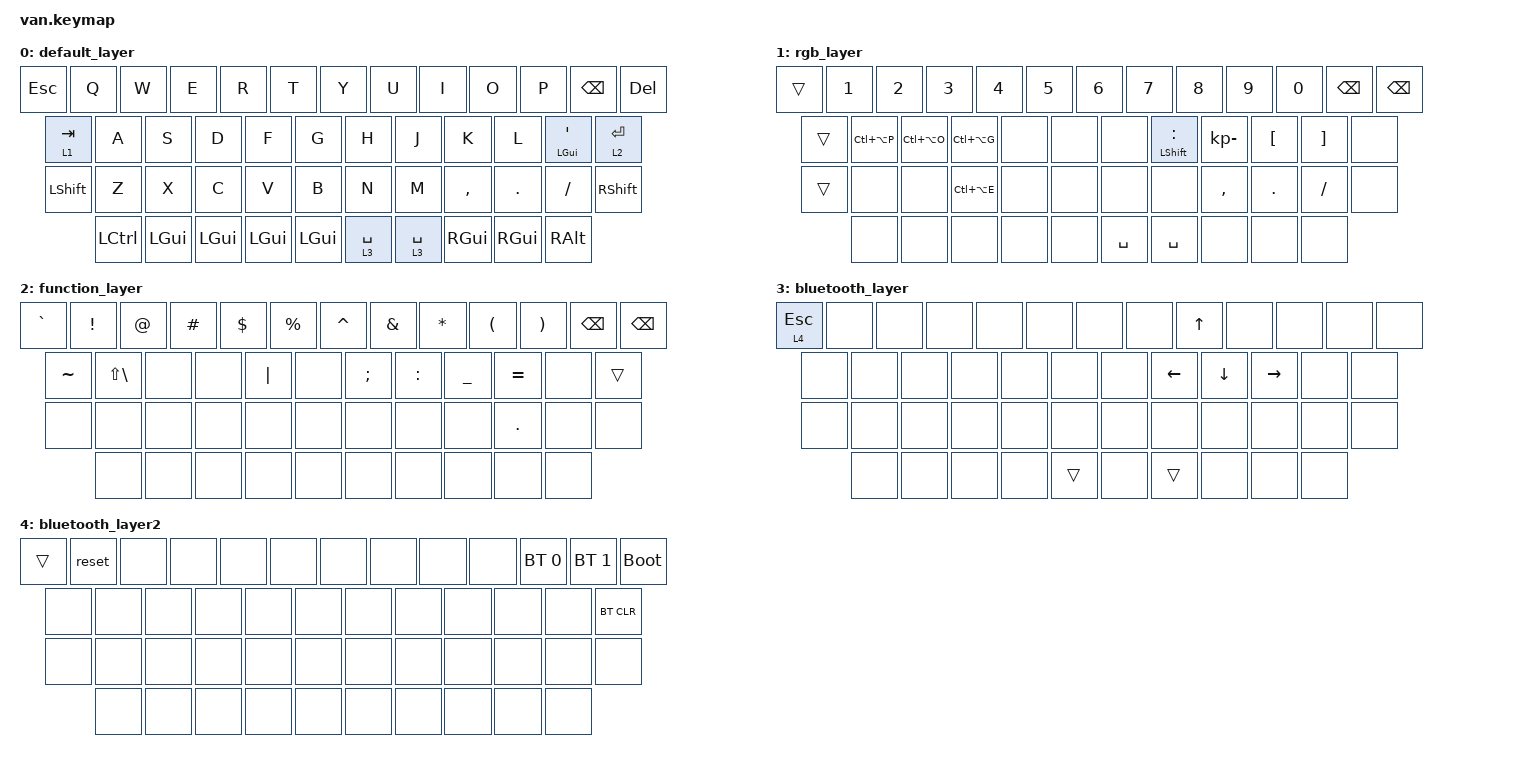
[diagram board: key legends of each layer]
/*
 * Copyright (c) 2021 Nick Winans
 *
 * SPDX-License-Identifier: MIT
 */

#include <behaviors.dtsi>
#include <dt-bindings/zmk/keys.h>
#include <dt-bindings/zmk/rgb.h>
#include <dt-bindings/zmk/bt.h>


/ {
	keymap {
		compatible = "zmk,keymap";

		default_layer {
// ------------------------------------------------------------------------------------------
// | ESC |  1  |  2  |  3  |  4  |  5  |  6  |  7  |  8  |  9  |  0  |  -  |  =  |   BKSP   |
// | TAB  |  Q  |  W  |  E  |  R  |  T  |  Y  |  U  |  I  |  O  |  P  |  [  |  ]  |   "|"   |
// | CAPS  |  A  |  S  |  D  |  F  |  G  |  H  |  J  |  K  |  L  |  ;  |  '  |     ENTER    |
// |  SHIFT  |  Z  |  X  |  C  |  V  |  B  |  N  |  M  |  ,  |  .  |  /  |      SHIFT       |
// |  CTL  |  WIN  |  ALT  |            SPACE              |  ALT  |  WIN  |  MO(1) |  CTL  |
// ------------------------------------------------------------------------------------------
			bindings = <
	&kp ESC  &kp Q  &kp W  &kp E  &kp R  &kp T  &kp Y  &kp U  &kp I  &kp O  &kp P  &kp BSPC &kp DEL
	&lt 1 TAB  &kp A  &kp S  &kp D  &kp F  &kp G  &kp H  &kp J  &kp K  &kp L  &mt LGUI SQT &lt 2 RET           
	&kp LSHFT   &kp Z  &kp X  &kp C  &kp V  &kp B  &kp N  &kp M  &kp COMMA &kp DOT &kp FSLH           &kp RSHFT
	&kp LCTRL &kp LGUI &kp LGUI &kp LGUI &kp LGUI &lt 3 SPACE     &lt 3 SPACE      &kp RGUI  &kp RGUI  &kp RALT  
			>;
		};

		rgb_layer {
// ------------------------------------------------------------------------------------------------
// | BT CLR | F1  | F2  | F3  | F4  | F5  | F6  | F7  | F8  | F9  | F10  | F11 | F12 | EFFECT REV |
// |  BT 1   |   |  UP |   | HUEUP | SATUP | BRIUP | SPDUP |   |     |    |     |     |           |
// |   BT 2   | LT |  DN  | RT | HUEDN | SATDN | BRIDN | SPDDN |   |     |   |     |  EFFECT FORW |
// |    BT 3     |     |      |      |     |     |     |     |     |     |     |                  |
// |   BT 4  |      |      |             TOG RGB                | PRT SCR |       |       |  DEL  |
// ------------------------------------------------------------------------------------------------
			bindings = <
	&trans  &kp N1  &kp N2  &kp N3  &kp N4  &kp N5  &kp N6  &kp N7  &kp N8  &kp N9  &kp N0  &kp BSPC &kp BSPC
	&trans  &kp LC(LA(P))  &kp LC(LA(O))  &kp LC(LA(G))  &none  &none &none &mt LSHFT COLON &kp KP_MINUS  &kp LBKT  &kp RBKT &none          
	&trans   &none &none  &kp LC(LA(E))  &none  &none  &none &none &kp COMMA &kp DOT &kp FSLH          &none
	&none &none &none &none &none &kp SPACE          &kp SPACE                     &none  &none  &none 
			>;
		};

		function_layer {
// ------------------------------------------------------------------------------------------------
// | BT CLR | F1  | F2  | F3  | F4  | F5  | F6  | F7  | F8  | F9  | F10  | F11 | F12 | EFFECT REV |
// |  BT 1   |   |  UP |   | HUEUP | SATUP | BRIUP | SPDUP |   |     |    |     |     |           |
// |   BT 2   | LT |  DN  | RT | HUEDN | SATDN | BRIDN | SPDDN |   |     |   |     |  EFFECT FORW |
// |    BT 3     |     |      |      |     |     |     |     |     |     |     |                  |
// |   BT 4  |      |      |             TOG RGB                | PRT SCR |       |       |  DEL  |
// ------------------------------------------------------------------------------------------------
			bindings = <
	&kp GRAVE  &kp EXCL  &kp AT  &kp HASH  &kp DLLR  &kp PRCNT  &kp CARET  &kp AMPS  &kp STAR  &kp LPAR  &kp RPAR  &kp BSPC &kp BSPC
	&kp TILDE  &kp LS(BSLH)  &none  &none  &kp PIPE  &none  &kp SEMI  &kp COLON  &kp UNDER  &kp EQUAL &none &trans          
	&none   &none &none  &none  &none  &none  &none &none  &none &kp DOT &none          &none
	&none &none &none    &none &none &none         &none                     &none  &none  &none
			>;
		};
		
		bluetooth_layer {
// ------------------------------------------------------------------------------------------------
// | BT CLR | F1  | F2  | F3  | F4  | F5  | F6  | F7  | F8  | F9  | F10  | F11 | F12 | EFFECT REV |
// |  BT 1   |   |  UP |   | HUEUP | SATUP | BRIUP | SPDUP |   |     |    |     |     |           |
// |   BT 2   | LT |  DN  | RT | HUEDN | SATDN | BRIDN | SPDDN |   |     |   |     |  EFFECT FORW |
// |    BT 3     |     |      |      |     |     |     |     |     |     |     |                  |
// |   BT 4  |      |      |             TOG RGB                | PRT SCR |       |       |  DEL  |
// ------------------------------------------------------------------------------------------------
			bindings = <
	&lt 4 ESC &none  &none  &none  &none &none &none  &none &kp UP  &none  &none  &none &none
	&none  &none  &none  &none  &none  &none  &none  &kp LEFT  &kp DOWN  &kp RIGHT  &none &none          
	&none   &none &none &none  &none  &none  &none &none  &none &none &none          &none
	&none &none &none    &none &trans &none         &trans                     &none  &none  &none 
			>;
		};
		
		bluetooth_layer2 {
// ------------------------------------------------------------------------------------------------
// | BT CLR | F1  | F2  | F3  | F4  | F5  | F6  | F7  | F8  | F9  | F10  | F11 | F12 | EFFECT REV |
// |  BT 1   |   |  UP |   | HUEUP | SATUP | BRIUP | SPDUP |   |     |    |     |     |           |
// |   BT 2   | LT |  DN  | RT | HUEDN | SATDN | BRIDN | SPDDN |   |     |   |     |  EFFECT FORW |
// |    BT 3     |     |      |      |     |     |     |     |     |     |     |                  |
// |   BT 4  |      |      |             TOG RGB                | PRT SCR |       |       |  DEL  |
// ------------------------------------------------------------------------------------------------
			bindings = <
	&trans &reset  &none  &none  &none &none &none  &none &none  &none  &bt BT_SEL 0  &bt BT_SEL 1 &bootloader
	&none  &none  &none  &none  &none  &none  &none  &none  &none  &none  &none &bt BT_CLR          
	&none   &none &none  &none  &none  &none  &none &none  &none &none &none          &none
	&none &none &none    &none &none &none         &none                     &none  &none  &none 
			>;
		};
	};
};
